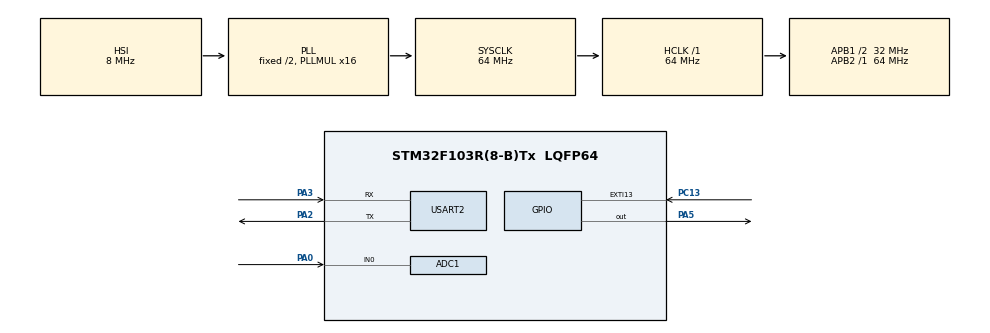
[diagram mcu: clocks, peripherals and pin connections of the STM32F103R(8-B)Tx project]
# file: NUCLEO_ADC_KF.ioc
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ADC1.ContinuousConvMode=ENABLE
ADC1.NbrOfConversionFlag=1
ADC1.master=1
Dma.ADC1.0.Direction=DMA_PERIPH_TO_MEMORY
Dma.ADC1.0.Instance=DMA1_Channel1
Dma.ADC1.0.MemDataAlignment=DMA_MDATAALIGN_WORD
Dma.ADC1.0.MemInc=DMA_MINC_ENABLE
Dma.ADC1.0.Mode=DMA_CIRCULAR
Dma.ADC1.0.PeriphDataAlignment=DMA_PDATAALIGN_WORD
Dma.ADC1.0.PeriphInc=DMA_PINC_DISABLE
Dma.ADC1.0.Priority=DMA_PRIORITY_LOW
Dma.Request0=ADC1
Mcu.Family=STM32F1
Mcu.Name=STM32F103R(8-B)Tx
Mcu.Package=LQFP64
NVIC.DMA1_Channel1_IRQn=true\:0\:0\:false\:false\:true\:false\:true
NVIC.EXTI15_10_IRQn=true\:0\:0\:false\:false\:true\:true\:true
NVIC.PriorityGroup=NVIC_PRIORITYGROUP_4
PA0-WKUP.Signal=ADCx_IN0
PA13.Mode=Serial_Wire
PA13.Signal=SYS_JTMS-SWDIO
PA14.Mode=Serial_Wire
PA14.Signal=SYS_JTCK-SWCLK
PA2.GPIO_Mode=GPIO_MODE_AF_PP
PA2.GPIO_PuPd=GPIO_NOPULL
PA2.GPIO_Speed=GPIO_SPEED_FREQ_HIGH
PA2.Mode=Asynchronous
PA2.Signal=USART2_TX
PA3.GPIO_Mode=GPIO_MODE_INPUT
PA3.GPIO_PuPd=GPIO_NOPULL
PA3.GPIO_Speed=GPIO_SPEED_FREQ_LOW
PA3.Mode=Asynchronous
PA3.Signal=USART2_RX
PA5.GPIO_ModeDefaultOutputPP=GPIO_MODE_OUTPUT_PP
PA5.GPIO_PuPd=GPIO_NOPULL
PA5.GPIO_Speed=GPIO_SPEED_FREQ_LOW
PA5.PinState=GPIO_PIN_RESET
PA5.Signal=GPIO_Output
PB3.Signal=SYS_JTDO-TRACESWO
PC13-TAMPER-RTC.GPIO_ModeDefaultEXTI=GPIO_MODE_IT_RISING
PC13-TAMPER-RTC.GPIO_PuPd=GPIO_NOPULL
PC13-TAMPER-RTC.Signal=GPXTI13
PC14-OSC32_IN.Mode=LSE-External-Oscillator
PC14-OSC32_IN.Signal=RCC_OSC32_IN
PC15-OSC32_OUT.Mode=LSE-External-Oscillator
PC15-OSC32_OUT.Signal=RCC_OSC32_OUT
PD0-OSC_IN.Signal=RCC_OSC_IN
PD1-OSC_OUT.Signal=RCC_OSC_OUT
ProjectManager.HeapSize=0x200
ProjectManager.StackSize=0x400
ProjectManager.TargetToolchain=STM32CubeIDE
RCC.ADCPresc=RCC_ADCPCLK2_DIV8
RCC.AHBFreq_Value=64000000
RCC.APB1CLKDivider=RCC_HCLK_DIV2
RCC.APB1Freq_Value=32000000
RCC.APB1TimFreq_Value=64000000
RCC.APB2Freq_Value=64000000
RCC.APB2TimFreq_Value=64000000
RCC.HCLKFreq_Value=64000000
RCC.PLLMUL=RCC_PLL_MUL16
RCC.RTCClockSelection=RCC_RTCCLKSOURCE_LSE
RCC.SYSCLKFreq_VALUE=64000000
RCC.SYSCLKSource=RCC_SYSCLKSOURCE_PLLCLK
RCC.USBFreq_Value=64000000
SH.ADCx_IN0.0=ADC1_IN0,IN0
USART2.VirtualMode=VM_ASYNC
board=NUCLEO-F103RB

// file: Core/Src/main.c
/* USER CODE BEGIN Header */
/**
  ******************************************************************************
  * @file           : main.c
  * @brief          : Main program body
  ******************************************************************************
  * @attention
  *
  * <h2><center>&copy; Copyright (c) 2020 STMicroelectronics.
  * All rights reserved.</center></h2>
  *
  * This software component is licensed by ST under BSD 3-Clause license,
  * the "License"; You may not use this file except in compliance with the
  * License. You may obtain a copy of the License at:
  *                        opensource.org/licenses/BSD-3-Clause
  *
  ******************************************************************************
  */
/* USER CODE END Header */

#include "main.h"
#include "adc.h"
#include "dma.h"
#include "usart.h"
#include "gpio.h"

/* USER CODE BEGIN Includes */
#include "KalmanFilter.h"
/* USER CODE END Includes */

/* USER CODE BEGIN PV */
uint32_t ADC_DMA_Value[100];
uint32_t ADC_BUF_Value[100];
uint8_t ADC_Trans_Flag = 0;
float ADC_average = 0;
float ADC_Kalman_Value = 0;
/* USER CODE END PV */

void SystemClock_Config(void);

int main(void)
{

  /* MCU Configuration--------------------------------------------------------*/

  /* Reset of all peripherals, Initializes the Flash interface and the Systick. */
  HAL_Init();

  /* Configure the system clock */
  SystemClock_Config();

  /* Initialize all configured peripherals */
  MX_GPIO_Init();
  MX_DMA_Init();
  MX_USART2_UART_Init();
  MX_ADC1_Init();
  /* USER CODE BEGIN 2 */
  HAL_ADC_Start_DMA(&hadc1, (uint32_t*)&ADC_DMA_Value, 100);
  /* USER CODE END 2 */

  /* Infinite loop */
  /* USER CODE BEGIN WHILE */
  while (1)
  {

	  if(ADC_Trans_Flag == 1) {
		   float Sum = 0;
		  for(uint8_t i = 0; i < 100; i++) {
		  	  Sum += ADC_BUF_Value[i];
		  }
		  ADC_average = Sum / 100;

		  ADC_Kalman_Value = KalmanFilter(ADC_BUF_Value, 100);

		  swvPrint(0, "1\n", 2);
		  HAL_Delay(1);
		  ADC_Trans_Flag = 0;
	  }
    /* USER CODE END WHILE */

  }
}

void SystemClock_Config(void)
{
  RCC_OscInitTypeDef RCC_OscInitStruct = {0};
  RCC_ClkInitTypeDef RCC_ClkInitStruct = {0};
  RCC_PeriphCLKInitTypeDef PeriphClkInit = {0};

  /** Initializes the CPU, AHB and APB busses clocks
  */
  RCC_OscInitStruct.OscillatorType = RCC_OSCILLATORTYPE_HSI;
  RCC_OscInitStruct.HSIState = RCC_HSI_ON;
  RCC_OscInitStruct.HSICalibrationValue = RCC_HSICALIBRATION_DEFAULT;
  RCC_OscInitStruct.PLL.PLLState = RCC_PLL_ON;
  RCC_OscInitStruct.PLL.PLLSource = RCC_PLLSOURCE_HSI_DIV2;
  RCC_OscInitStruct.PLL.PLLMUL = RCC_PLL_MUL16;
  if (HAL_RCC_OscConfig(&RCC_OscInitStruct) != HAL_OK)
  {
    Error_Handler();
  }
  /** Initializes the CPU, AHB and APB busses clocks
  */
  RCC_ClkInitStruct.ClockType = RCC_CLOCKTYPE_HCLK|RCC_CLOCKTYPE_SYSCLK
                              |RCC_CLOCKTYPE_PCLK1|RCC_CLOCKTYPE_PCLK2;
  RCC_ClkInitStruct.SYSCLKSource = RCC_SYSCLKSOURCE_PLLCLK;
  RCC_ClkInitStruct.AHBCLKDivider = RCC_SYSCLK_DIV1;
  RCC_ClkInitStruct.APB1CLKDivider = RCC_HCLK_DIV2;
  RCC_ClkInitStruct.APB2CLKDivider = RCC_HCLK_DIV1;

  if (HAL_RCC_ClockConfig(&RCC_ClkInitStruct, FLASH_LATENCY_2) != HAL_OK)
  {
    Error_Handler();
  }
  PeriphClkInit.PeriphClockSelection = RCC_PERIPHCLK_ADC;
  PeriphClkInit.AdcClockSelection = RCC_ADCPCLK2_DIV8;
  if (HAL_RCCEx_PeriphCLKConfig(&PeriphClkInit) != HAL_OK)
  {
    Error_Handler();
  }
}

/* USER CODE BEGIN 4 */
void HAL_ADC_ConvCpltCallback(ADC_HandleTypeDef* hadc) {
	if(hadc->Instance == hadc1.Instance) {
		if(ADC_Trans_Flag == 0) {
			for(uint8_t i = 0; i< 100; i++) {
				ADC_BUF_Value[i] = ADC_DMA_Value[i];
			}
			ADC_Trans_Flag = 1;
		}
	}

}

void swvPrint(int port, char *ptr, int len)
{
    int i = 0;
    for (i = 0; i < len; i++)
    {
        while (ITM->PORT[port].u32 == 0)
        {
        }
        ITM->PORT[port].u8 = *(ptr + i);
    }
}
/* USER CODE END 4 */

void Error_Handler(void)
{
}

/************************ (C) COPYRIGHT STMicroelectronics *****END OF FILE****/
